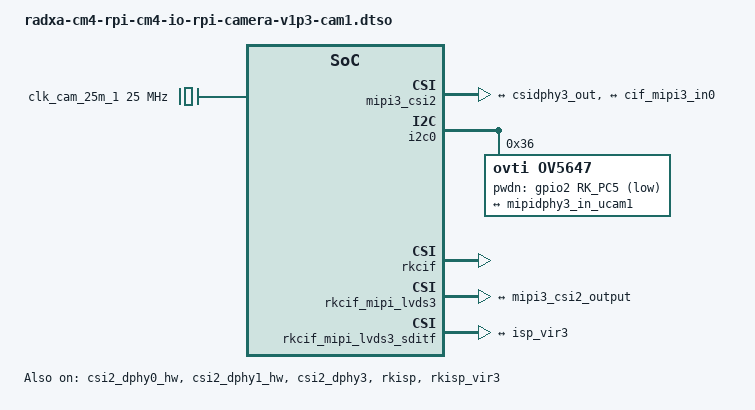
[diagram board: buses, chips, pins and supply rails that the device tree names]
/dts-v1/;
/plugin/;

#include <dt-bindings/gpio/gpio.h>
#include <dt-bindings/pinctrl/rockchip.h>

/ {
	metadata {
		title = "Enable Raspberry Pi Camera V1.3 on CAM1";
		compatible = "radxa,cm4-rpi-cm4-io";
		category = "camera";
		exclusive = "GPIO2_C5", "csi2_dphy3", "i2c0";
		description = "Enable Raspberry Pi Camera V1.3 on CAM1.";
	};
};

&{/} {
	clk_cam_25m_1: external-camera-clock-25m-1 {
		status = "okay";
		compatible = "fixed-clock";
		clock-frequency = <25000000>;
		clock-output-names = "clk_cam_25m_1";
		#clock-cells = <0>;
	};
};

&csi2_dphy0_hw {
	status = "okay";
};

&csi2_dphy1_hw {
	status = "okay";
};

&csi2_dphy3 {
	status = "okay";

	ports {
		#address-cells = <1>;
		#size-cells = <0>;

		port@0 {
			reg = <0>;
			#address-cells = <1>;
			#size-cells = <0>;

			mipidphy3_in_ucam1: endpoint@1 {
				reg = <1>;
				remote-endpoint = <&ov5647_out1>;
				data-lanes = <1 2>;
			};
		};

		port@1 {
			reg = <1>;
			#address-cells = <1>;
			#size-cells = <0>;

			csidphy3_out: endpoint@0 {
				reg = <0>;
				remote-endpoint = <&mipi3_csi2_input>;
			};
		};
	};
};

&mipi3_csi2 {
	status = "okay";

	ports {
		#address-cells = <1>;
		#size-cells = <0>;

		port@0 {
			reg = <0>;
			#address-cells = <1>;
			#size-cells = <0>;

			mipi3_csi2_input: endpoint@1 {
				reg = <1>;
				remote-endpoint = <&csidphy3_out>;
			};
		};

		port@1 {
			reg = <1>;
			#address-cells = <1>;
			#size-cells = <0>;

			mipi3_csi2_output: endpoint@0 {
				reg = <0>;
				remote-endpoint = <&cif_mipi3_in0>;
			};
		};
	};
};

&i2c0 {
	#address-cells = <1>;
	#size-cells = <0>;

	ov5647: ov5647@36 {
		status = "okay";
		compatible = "ovti,ov5647";
		reg = <0x36>;

		clocks = <&clk_cam_25m_1>;
		pwdn-gpios = <&gpio2 RK_PC5 GPIO_ACTIVE_LOW>;
		clock-names = "xvclk";

		rockchip,camera-module-index = <1>;
		rockchip,camera-module-facing = "back";
		rockchip,camera-module-name = "rpi-camera-v1p3";
		rockchip,camera-module-lens-name = "default";

		port {
			ov5647_out1: endpoint {
				remote-endpoint = <&mipidphy3_in_ucam1>;
				data-lanes = <1 2>;
			};
		};
	};
};

&rkcif {
	status = "okay";
};

&rkcif_mmu {
	status = "okay";
};

&rkcif_mipi_lvds3 {
	status = "okay";

	port {
		cif_mipi3_in0: endpoint {
			remote-endpoint = <&mipi3_csi2_output>;
		};
	};
};

&rkcif_mipi_lvds3_sditf {
	status = "okay";

	port {
		mipi_lvds3_sditf: endpoint {
			remote-endpoint = <&isp_vir3>;
		};
	};
};

&rkisp {
	status = "okay";
};

&rkisp_mmu {
	status = "okay";
};

&rkisp_vir3 {
	status = "okay";

	port {
		#address-cells = <1>;
		#size-cells = <0>;

		isp_vir3: endpoint@0 {
			reg = <0>;
			remote-endpoint = <&mipi_lvds3_sditf>;
		};
	};
};
